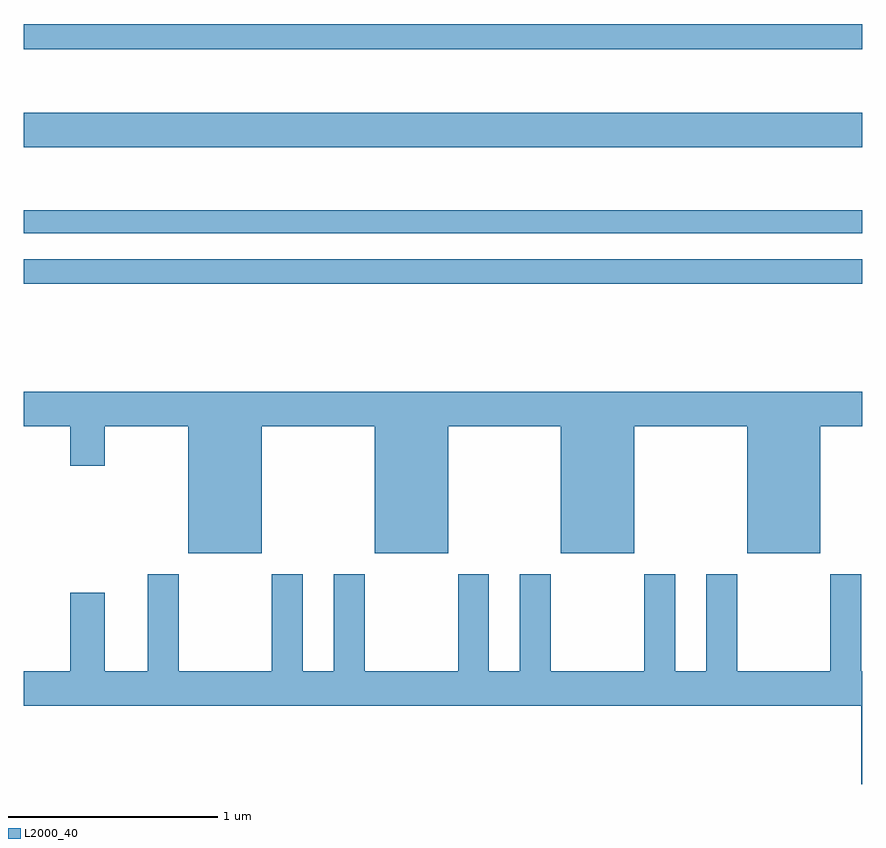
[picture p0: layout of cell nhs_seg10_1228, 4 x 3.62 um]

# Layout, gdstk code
import gdstk
lib = gdstk.Library(unit=1e-6, precision=1e-09)
def R(c, l, rs):  # rectangles x0, y0, x1, y1
    for r in rs: c.add(gdstk.rectangle(r[:2], r[2:], *l))
def P(c, l, *ps):  # polygons
    for p in ps: c.add(gdstk.Polygon(p, *l))
L2000_40 = (2000, 40)

nhs_seg10_1228 = lib.new_cell('nhs_seg10_1228')
R(nhs_seg10_1228, L2000_40, [(173,1328.968,177,1329.084), (173,1329.21,177,1329.319), (173,1329.62,177,1329.784), (173,1330.086,177,1330.207)])
P(nhs_seg10_1228, L2000_40, [(174.136,1328.288),(174.674,1328.288),(174.674,1327.682),(175.024,1327.682),(175.024,1328.288),(175.562,1328.288),(175.562,1327.682),(175.912,1327.682),(175.912,1328.288),(176.45,1328.288),(176.45,1327.682),(176.8,1327.682),(176.8,1328.288),(177,1328.288),(177,1328.452),(173,1328.452),(173,1328.288),(173.222,1328.288),(173.222,1328.1),(173.386,1328.1),(173.386,1328.288),(173.786,1328.288),(173.786,1327.682),(174.136,1327.682)],
  [(177,1327.12),(176.995,1327.12),(176.995,1327.582),(176.848,1327.582),(176.848,1327.12),(176.403,1327.12),(176.403,1327.582),(176.255,1327.582),(176.255,1327.12),(176.107,1327.12),(176.107,1327.582),(175.96,1327.582),(175.96,1327.12),(175.515,1327.12),(175.515,1327.582),(175.367,1327.582),(175.367,1327.12),(175.219,1327.12),(175.219,1327.582),(175.072,1327.582),(175.072,1327.12),(174.627,1327.12),(174.627,1327.582),(174.479,1327.582),(174.479,1327.12),(174.331,1327.12),(174.331,1327.582),(174.184,1327.582),(174.184,1327.12),(173.739,1327.12),(173.739,1327.582),(173.591,1327.582),(173.591,1327.12),(173.386,1327.12),(173.386,1327.495),(173.222,1327.495),(173.222,1327.12),(173,1327.12),(173,1326.956),(176.996,1326.956),(176.996,1326.582),(177,1326.582)])

lib.write_gds('nhs_seg10_1228.gds')
